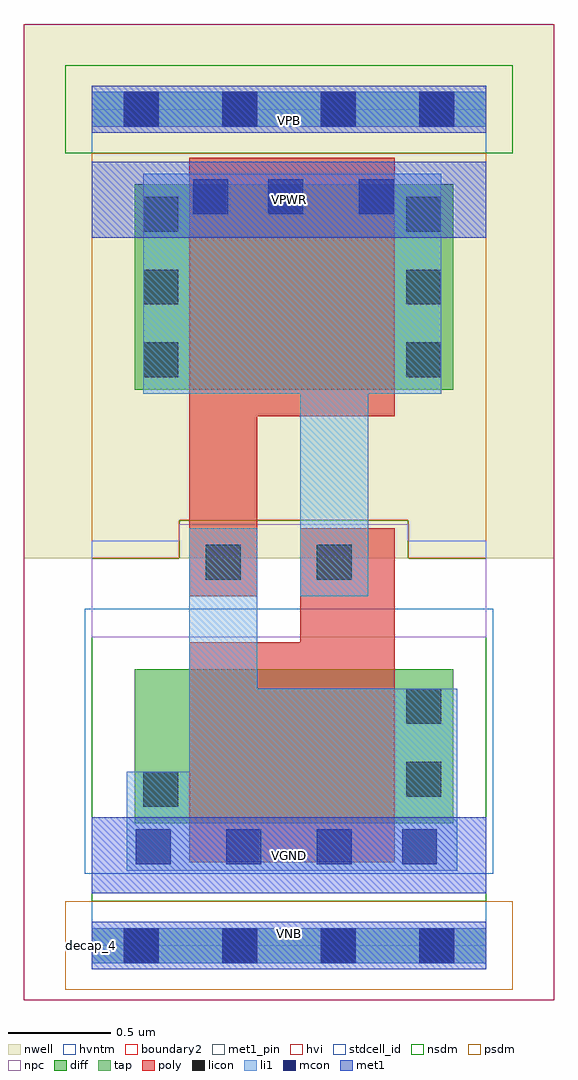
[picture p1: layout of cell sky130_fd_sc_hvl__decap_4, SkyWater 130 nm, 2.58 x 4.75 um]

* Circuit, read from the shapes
.subckt sky130_fd_sc_hvl__decap_4 VGND VNB VPB VPWR
XM1 VGND VPWR VGND VNB sky130_fd_pr__nfet_g5v0d10v5 w=0.75 l=1
XM2 VPWR VGND VPWR VPB sky130_fd_pr__pfet_g5v0d10v5 w=1 l=1
.ends

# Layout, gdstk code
import gdstk
lib = gdstk.Library(unit=1e-6, precision=1e-09)
def R(c, l, rs):  # rectangles x0, y0, x1, y1
    for r in rs: c.add(gdstk.rectangle(r[:2], r[2:], *l))
def A(c, l, x, y, w, h, nx, ny, dx, dy):  # array of equal rectangles
    R(c, l, [(x+i*dx, y+j*dy, x+i*dx+w, y+j*dy+h) for i in range(nx) for j in range(ny)])
def P(c, l, *ps):  # polygons
    for p in ps: c.add(gdstk.Polygon(p, *l))
nwell = (64, 20)
diff = (65, 20)
tap = (65, 44)
poly = (66, 20)
licon = (66, 44)
li1 = (67, 20)
mcon = (67, 44)
met1_pin = (68, 16)
met1 = (68, 20)
hvi = (75, 20)
stdcell_id = (81, 4)
nsdm = (93, 44)
psdm = (94, 20)
npc = (95, 20)
hvntm = (125, 20)
boundary2 = (236, 0)

sky130_fd_sc_hvl__decap_ = lib.new_cell('sky130_fd_sc_hvl__decap_4')
R(sky130_fd_sc_hvl__decap_, nwell, [(-0.33,1.885,2.25,4.485)])
R(sky130_fd_sc_hvl__decap_, diff, [(0.21,0.595,1.76,1.345), (0.21,2.705,1.76,3.705)])
R(sky130_fd_sc_hvl__decap_, tap, [(0,-0.085,1.92,0.085), (0,3.985,1.92,4.155)])
P(sky130_fd_sc_hvl__decap_, poly, [(1.475,3.835),(0.475,3.835),(0.475,1.7),(0.805,1.7),(0.805,2.575),(1.475,2.575)],
  [(1.475,2.03),(1.015,2.03),(1.015,1.475),(0.475,1.475),(0.475,0.405),(1.475,0.405)])
A(sky130_fd_sc_hvl__decap_, licon, 0.155, -0.085, 0.17, 0.17, 4, 2, 0.48, 4.07)
A(sky130_fd_sc_hvl__decap_, licon, 0.25, 2.765, 0.17, 0.17, 1, 3, 0, 0.355)
A(sky130_fd_sc_hvl__decap_, licon, 1.53, 2.765, 0.17, 0.17, 1, 3, 0, 0.355)
R(sky130_fd_sc_hvl__decap_, licon, [(0.25,0.675,0.42,0.845), (1.53,0.725,1.7,0.895), (1.53,1.08,1.7,1.25), (0.555,1.78,0.725,1.95), (1.095,1.78,1.265,1.95)])
R(sky130_fd_sc_hvl__decap_, li1, [(0,-0.085,1.92,0.085), (0,3.985,1.92,4.155)])
P(sky130_fd_sc_hvl__decap_, li1, [(1.7,3.755),(0.25,3.755),(0.25,2.685),(1.015,2.685),(1.015,1.7),(1.345,1.7),(1.345,2.685),(1.7,2.685)],
  [(1.78,1.25),(0.805,1.25),(0.805,2.03),(0.475,2.03),(0.475,0.845),(0.17,0.845),(0.17,0.365),(1.78,0.365)])
A(sky130_fd_sc_hvl__decap_, mcon, 0.155, -0.085, 0.17, 0.17, 4, 2, 0.48, 4.07)
A(sky130_fd_sc_hvl__decap_, mcon, 0.215, 0.395, 0.17, 0.17, 3, 1, 0.44, 0)
R(sky130_fd_sc_hvl__decap_, mcon, [(1.51,0.395,1.68,0.565), (0.495,3.56,0.665,3.73), (0.86,3.56,1.03,3.73), (1.3,3.56,1.47,3.73)])
R(sky130_fd_sc_hvl__decap_, met1_pin, [(0,0,1.92,0.115), (0,0,1.92,0.115), (0,0.255,1.92,0.625), (0,3.445,1.92,3.815), (0,3.955,1.92,4.07), (0,3.955,1.92,4.07)])
R(sky130_fd_sc_hvl__decap_, met1, [(0,-0.115,1.92,0.115), (0,0.255,1.92,0.625), (0,3.445,1.92,3.815), (0,3.955,1.92,4.185)])
R(sky130_fd_sc_hvl__decap_, hvi, [(-0.33,-0.265,2.25,4.485)])
R(sky130_fd_sc_hvl__decap_, stdcell_id, [(0,0,1.92,4.07)])
R(sky130_fd_sc_hvl__decap_, nsdm, [(-0.13,3.855,2.05,4.285)])
P(sky130_fd_sc_hvl__decap_, nsdm, [(1.92,1.885),(1.54,1.885),(1.54,2.07),(0.425,2.07),(0.425,1.885),(0,1.885),(0,0.215),(1.92,0.215)])
R(sky130_fd_sc_hvl__decap_, psdm, [(-0.13,-0.215,2.05,0.215)])
P(sky130_fd_sc_hvl__decap_, psdm, [(1.92,3.855),(0,3.855),(0,1.885),(0.425,1.885),(0.425,2.07),(1.54,2.07),(1.54,1.885),(1.92,1.885)])
P(sky130_fd_sc_hvl__decap_, npc, [(1.92,1.97),(1.54,1.97),(1.54,2.05),(0.425,2.05),(0.425,1.97),(0,1.97),(0,1.5),(1.92,1.5)])
R(sky130_fd_sc_hvl__decap_, hvntm, [(-0.035,0.35,1.955,1.64)])
R(sky130_fd_sc_hvl__decap_, boundary2, [(0,0,1.92,4.07)])
sky130_fd_sc_hvl__decap_.add(gdstk.Label('decap_4', (0,0), layer=83, texttype=44))
sky130_fd_sc_hvl__decap_.add(gdstk.Label('VNB', (0.96,0.058), layer=68, texttype=5))
sky130_fd_sc_hvl__decap_.add(gdstk.Label('VGND', (0.96,0.44), layer=68, texttype=5))
sky130_fd_sc_hvl__decap_.add(gdstk.Label('VNB', (0.96,0.058), layer=68, texttype=5))
sky130_fd_sc_hvl__decap_.add(gdstk.Label('VPWR', (0.96,3.63), layer=68, texttype=5))
sky130_fd_sc_hvl__decap_.add(gdstk.Label('VPB', (0.96,4.013), layer=68, texttype=5))
sky130_fd_sc_hvl__decap_.add(gdstk.Label('VPB', (0.96,4.013), layer=68, texttype=5))

lib.write_gds('sky130_fd_sc_hvl__decap_4.gds')
